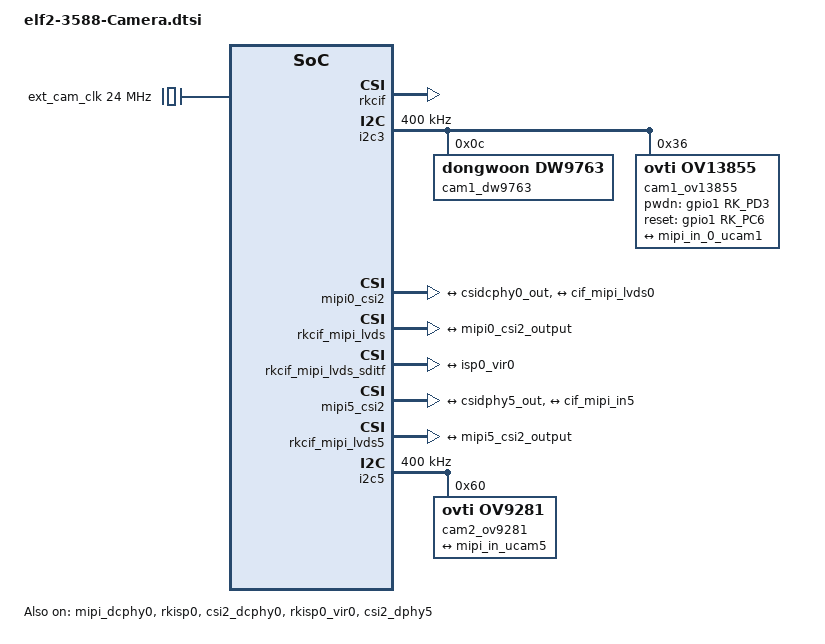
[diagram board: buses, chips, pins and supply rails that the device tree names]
// SPDX-License-Identifier: (GPL-2.0+ OR MIT)
/*
 * Copyright (c) 2022 Forlinx Co., Ltd.
 *

 * rkisp0 --> rkisp0_vir0/rkisp0_vir1/rkisp0_vir2/rkisp0_vir3
 * rkisp1 --> rkisp1_vir0/rkisp1_vir1/rkisp1_vir2/rkisp1_vir3

 * rkcif_mipi_lvds --> rkcif_mipi_lvds[0-4]_sditf

 * mipicamera0 --> csi2_dcphy0 --> mipi0_csi2 -->rkcif_mipi_lvds  --> rkcif_mipi_lvds_sditf  --> rkisp0_vir0
 * mipicamera1 --> csi2_dcphy1 --> mipi1_csi2 -->rkcif_mipi_lvds1 --> rkcif_mipi_lvds1_sditf --> rkisp0_vir1
	
 * csi2_dphy0 or (csi2_dphy1、csi2_dphy2)	dphy0
 * csi2_dphy3 or (csi2_dphy4、csi2_dphy5)	dphy1

 * mipicamera2 --> csi2_dphy1 -->  mipi2_csi2 -->rkcif_mipi_lvds2 -->rkcif_mipi_lvds2_sditf  --> rkisp0_vir2
 * mipicamera3 --> csi2_dphy2 -->  mipi3_csi2 -->rkcif_mipi_lvds3 -->rkcif_mipi_lvds3_sditf  --> rkisp1_vir0
 * mipicamera4 --> csi2_dphy4 -->  mipi4_csi2 -->rkcif_mipi_lvds4 -->rkcif_mipi_lvds4_sditf  --> rkisp1_vir1
 * mipicamera5 --> csi2_dphy5 -->  mipi5_csi2 -->rkcif_mipi_lvds5 -->rkcif_mipi_lvds5_sditf  --> rkisp1_vir2

 * mipicamera6 --> rkcif_dvp ---> rkcif_dvp_sditf
 */

/ {
    ext_cam_clk: external-camera-clock {
        compatible = "fixed-clock";
        clock-frequency = <24000000>;
        clock-output-names = "CLK_CAMERA_24MHZ";
        #clock-cells = <0>;
    };
};

&rkcif {
    status = "okay";
};

&rkcif_mmu {
    status = "okay";
};


//************************************************
//***  CAM1 OV13855 Configuration description  ***
//************************************************

&mipi_dcphy0 {
    status = "okay";
};

&rkisp0 {
    status = "okay";
};

&isp0_mmu {
    status = "okay";
};

&i2c3 {
    status = "okay";
    clock-frequency = <400000>;

   cam1_dw9763: cam1-dw9763@c {
        compatible = "dongwoon,dw9763";
        status = "okay";
        reg = <0x0c>;
        rockchip,vcm-max-current = <120>;
        rockchip,vcm-start-current = <20>;
        rockchip,vcm-rated-current = <90>;
        rockchip,vcm-step-mode = <3>;
        rockchip,vcm-t-src = <0x20>;
        rockchip,vcm-t-div = <1>;
        rockchip,camera-module-index = <0>;
        rockchip,camera-module-facing = "back";
    };

    cam1_ov13855: cam1-ov13855@36 {
        compatible = "ovti,ov13855";
        status = "okay";
        reg = <0x36>;

        clocks = <&ext_cam_clk>;
        clock-names = "xvclk";
	pinctrl-names = "default";
        pinctrl-0 = <&cam1_reset_gpio
                     &cam1_pwren_gpio>;
        pwdn-gpios = <&gpio1 RK_PD3 GPIO_ACTIVE_HIGH>;
        reset-gpios = <&gpio1 RK_PC6 GPIO_ACTIVE_HIGH>;

        rockchip,camera-module-index = <0>;
        rockchip,camera-module-facing = "back";
        rockchip,camera-module-name = "CMK-OT2016-FV1";
        rockchip,camera-module-lens-name = "default";
        lens-focus = <&cam1_dw9763>;
        port {
            cam1_ov13855_out: endpoint {
            remote-endpoint = <&mipi_in_0_ucam1>;
            data-lanes = <1 2>;
            };
        };
    };
};

&csi2_dcphy0 {
    status = "okay";
    ports {
        #address-cells = <1>;
        #size-cells = <0>;
        port@0 {
            reg = <0>;
            #address-cells = <1>;
            #size-cells = <0>;
            mipi_in_0_ucam1: endpoint@1 {
                reg = <1>;
                remote-endpoint = <&cam1_ov13855_out>;
                data-lanes = <1 2>;
            };
        };
        port@1 {
            reg = <1>;
            #address-cells = <1>;
            #size-cells = <0>;
            csidcphy0_out: endpoint@0 {
                reg = <0>;
                remote-endpoint = <&mipi0_csi2_input>;
            };
        };
    };
};

&mipi0_csi2 {
    status = "okay";
    ports {
        #address-cells = <1>;
        #size-cells = <0>;
        port@0 {
            reg = <0>;
            #address-cells = <1>;
            #size-cells = <0>;
            mipi0_csi2_input: endpoint@1 {
                reg = <1>;
                remote-endpoint = <&csidcphy0_out>;
            };
        };
        port@1 {
            reg = <1>;
            #address-cells = <1>;
            #size-cells = <0>;
            mipi0_csi2_output: endpoint@0 {
                reg = <0>;
                remote-endpoint = <&cif_mipi_lvds0>;
            };
        };
    };
};

&rkcif_mipi_lvds {
    status = "okay";
    port {
        cif_mipi_lvds0: endpoint {
            remote-endpoint = <&mipi0_csi2_output>;
        };
    };
};

&rkcif_mipi_lvds_sditf {
    status = "okay";
    port {
        mipi_lvds_sditf: endpoint {
            remote-endpoint = <&isp0_vir0>;
        };
    };
};

&rkisp0_vir0 {
    status = "okay";
    port {
        #address-cells = <1>;
        #size-cells = <0>;
        isp0_vir0: endpoint@0 {
            reg = <0>;
            remote-endpoint = <&mipi_lvds_sditf>;
        };
    };
};


/* CAM2_OV9281_BEGIN
 *
 * OV9281 mono global-shutter camera on the P16 FPC ("Raspberry pi_CAM").
 *
 * Wiring, from the ELF2 V1.3 schematic and RK3588_PinOut_V1.1:
 *
 *   P16 nets MIPI_DPHY_CSI2_RX_D0/D1/CLK
 *     -> core-board pins MIPI_CSI1_RX_D2N/D2P, D3N/D3P, CLK1N/CLK1P
 *     -> balls AK32/AK31, AL32/AL31, AM32/AM31 = MIPI_CSI1_D2/D3/CLK1
 *
 * So the module lands on the *second half* (CLK1 + D2/D3) of the Innosilicon
 * MIPI CSI1 RX PHY (csi2_dphy1_hw @ 0xfedc8000).  It is NOT on the Samsung
 * combo DCPHY1 (@ 0xfedb0000, pins MIPI_DPHY1_RX) - the ELF2 pin table marks
 * that whole group "不做使用".
 *
 * Pipeline (see the mapping comment at the top of this file):
 *
 *   ov9281 -> csi2_dphy5 -> mipi5_csi2 -> rkcif_mipi_lvds5
 *
 * Which physical PHY is used is not decided by the DT node itself: rkcif
 * derives csi_idx from of_alias_get_id(node, "rkcif_mipi_lvds") in cif/dev.c
 * and pushes it to the PHY driver, where csi_idx 5 selects CSIPHY1 with
 * PHY_SPLIT_23.  Hence the *5 CIF virtual device is mandatory here.
 *
 * I2C is i2c5 (i2c5m2, GPIO4_A6/A7), shared with the RTC.
 * The connector wires no reset/pwdn GPIO; the module carries its own 24MHz
 * oscillator, so ext_cam_clk only exists to satisfy the driver clk_get().
 *
 * The ISP branch (rkcif_mipi_lvds5_sditf -> rkisp1_vir2) is deliberately left
 * disabled: there is no rkaiq IQ file for OV9281 in this SDK, so only
 * CIF-direct ("bypass") capture is usable.
 */

&csi2_dphy5 {
	status = "okay";

	ports {
		#address-cells = <1>;
		#size-cells = <0>;

		port@0 {
			reg = <0>;
			#address-cells = <1>;
			#size-cells = <0>;

			mipi_in_ucam5: endpoint@1 {
				reg = <1>;
				remote-endpoint = <&cam2_ov9281_out>;
				data-lanes = <1 2>;
			};
		};

		port@1 {
			reg = <1>;
			#address-cells = <1>;
			#size-cells = <0>;

			csidphy5_out: endpoint@0 {
				reg = <0>;
				remote-endpoint = <&mipi5_csi2_input>;
			};
		};
	};
};

&mipi5_csi2 {
	status = "okay";

	ports {
		#address-cells = <1>;
		#size-cells = <0>;

		port@0 {
			reg = <0>;
			#address-cells = <1>;
			#size-cells = <0>;

			mipi5_csi2_input: endpoint@1 {
				reg = <1>;
				remote-endpoint = <&csidphy5_out>;
			};
		};

		port@1 {
			reg = <1>;
			#address-cells = <1>;
			#size-cells = <0>;

			mipi5_csi2_output: endpoint@0 {
				reg = <0>;
				remote-endpoint = <&cif_mipi_in5>;
			};
		};
	};
};

&rkcif_mipi_lvds5 {
	status = "okay";

	port {
		cif_mipi_in5: endpoint {
			remote-endpoint = <&mipi5_csi2_output>;
		};
	};
};

&i2c5 {
	status = "okay";
	clock-frequency = <400000>;

	cam2_ov9281: cam2-ov9281@60 {
		compatible = "ovti,ov9281";
		status = "okay";
		reg = <0x60>;

		clocks = <&ext_cam_clk>;
		clock-names = "xvclk";

		rockchip,camera-module-index = <1>;
		rockchip,camera-module-facing = "back";
		rockchip,camera-module-name = "OV9281";
		rockchip,camera-module-lens-name = "default";

		port {
			cam2_ov9281_out: endpoint {
				remote-endpoint = <&mipi_in_ucam5>;
				data-lanes = <1 2>;
			};
		};
	};
};
/* CAM2_OV9281_END */
